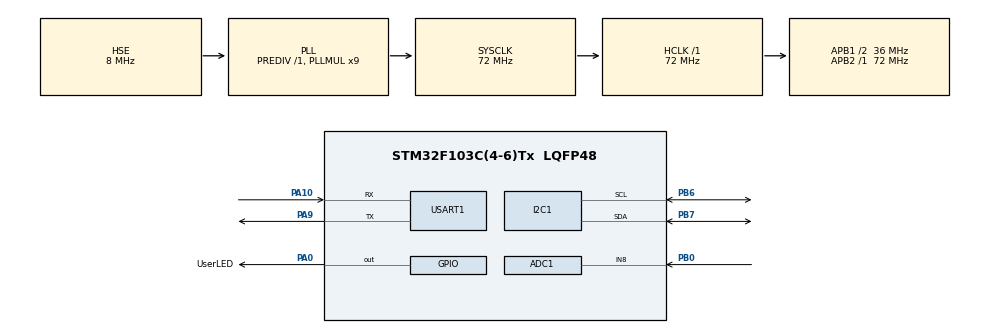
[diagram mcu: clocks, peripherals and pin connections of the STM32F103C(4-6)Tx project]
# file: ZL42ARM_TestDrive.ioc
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ADC1.Channel-0\#ChannelRegularConversion=ADC_CHANNEL_8
ADC1.NbrOfConversionFlag=1
ADC1.Rank-0\#ChannelRegularConversion=1
ADC1.SamplingTime-0\#ChannelRegularConversion=ADC_SAMPLETIME_1CYCLE_5
ADC1.master=1
ADC2.Channel-0\#ChannelRegularConversion=ADC_CHANNEL_8
ADC2.NbrOfConversionFlag=1
ADC2.Rank-0\#ChannelRegularConversion=1
ADC2.SamplingTime-0\#ChannelRegularConversion=ADC_SAMPLETIME_1CYCLE_5
Mcu.Family=STM32F1
Mcu.Name=STM32F103C(4-6)Tx
Mcu.Package=LQFP48
NVIC.PriorityGroup=NVIC_PRIORITYGROUP_4
PA0-WKUP.GPIO_Label=UserLED
PA0-WKUP.GPIO_ModeDefaultOutputPP=GPIO_MODE_OUTPUT_PP
PA0-WKUP.Signal=GPIO_Output
PA10.Mode=Asynchronous
PA10.Signal=USART1_RX
PA13.Mode=Serial_Wire
PA13.Signal=SYS_JTMS-SWDIO
PA14.Mode=Serial_Wire
PA14.Signal=SYS_JTCK-SWCLK
PA9.Mode=Asynchronous
PA9.Signal=USART1_TX
PB0.Signal=SharedAnalog_PB0
PB6.Mode=I2C
PB6.Signal=I2C1_SCL
PB7.Mode=I2C
PB7.Signal=I2C1_SDA
PD0-OSC_IN.Mode=HSE-External-Oscillator
PD0-OSC_IN.Signal=RCC_OSC_IN
PD1-OSC_OUT.Mode=HSE-External-Oscillator
PD1-OSC_OUT.Signal=RCC_OSC_OUT
ProjectManager.HeapSize=0x200
ProjectManager.StackSize=0x400
ProjectManager.TargetToolchain=STM32CubeIDE
RCC.ADCPresc=RCC_ADCPCLK2_DIV6
RCC.AHBFreq_Value=72000000
RCC.APB1CLKDivider=RCC_HCLK_DIV2
RCC.APB1Freq_Value=36000000
RCC.APB1TimFreq_Value=72000000
RCC.APB2Freq_Value=72000000
RCC.APB2TimFreq_Value=72000000
RCC.HCLKFreq_Value=72000000
RCC.PLLMUL=RCC_PLL_MUL9
RCC.PLLSourceVirtual=RCC_PLLSOURCE_HSE
RCC.SYSCLKFreq_VALUE=72000000
RCC.SYSCLKSource=RCC_SYSCLKSOURCE_PLLCLK
RCC.USBFreq_Value=72000000
SH.SharedAnalog_PB0.0=GPIO_Analog
SH.SharedAnalog_PB0.1=ADC1_IN8,IN8
SH.SharedAnalog_PB0.2=ADC2_IN8,IN8
USART1.VirtualMode=VM_ASYNC
board=custom

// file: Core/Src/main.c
/* USER CODE BEGIN Header */
/**
  ******************************************************************************
  * @file           : main.c
  * @brief          : Main program body
  ******************************************************************************
  * @attention
  *
  * <h2><center>&copy; Copyright (c) 2020 STMicroelectronics.
  * All rights reserved.</center></h2>
  *
  * This software component is licensed by ST under BSD 3-Clause license,
  * the "License"; You may not use this file except in compliance with the
  * License. You may obtain a copy of the License at:
  *                        opensource.org/licenses/BSD-3-Clause
  *
  ******************************************************************************
  */
/* USER CODE END Header */
#include "main.h"
#include "adc.h"
#include "i2c.h"
#include "usart.h"
#include "gpio.h"

/* USER CODE BEGIN Includes */
#include <stdio.h>
/* USER CODE END Includes */

/* USER CODE BEGIN PV */
static uint32_t softPrescaler;
uint8_t uartBuff[50];
uint8_t uart_str_size;

uint8_t i2c_curr_addr;
uint8_t i2c_buffer[10];
/* USER CODE END PV */

void SystemClock_Config(void);

int main(void)
{

  /* MCU Configuration--------------------------------------------------------*/

  /* Reset of all peripherals, Initializes the Flash interface and the Systick. */
  HAL_Init();

  /* Configure the system clock */
  SystemClock_Config();

  /* Initialize all configured peripherals */
  MX_GPIO_Init();
  MX_I2C1_Init();
  MX_USART1_UART_Init();
  MX_ADC1_Init();
  MX_ADC2_Init();
	/* USER CODE BEGIN 2 */

	// switch off LED
	HAL_GPIO_WritePin(UserLED_GPIO_Port, UserLED_Pin, GPIO_PIN_SET);

	uart_str_size = sprintf(uartBuff, "I2C Test devices\r\n");
	HAL_UART_Transmit(&huart1, uartBuff, uart_str_size, 10000);

	uart_str_size = sprintf(uartBuff, "Scanning the bus...\r\n");
	HAL_UART_Transmit(&huart1, uartBuff, uart_str_size, 10000);

	HAL_StatusTypeDef result;
	for (i2c_curr_addr = 1; i2c_curr_addr < 128; i2c_curr_addr++) {
		result = HAL_I2C_IsDeviceReady(&hi2c1, (uint16_t) (i2c_curr_addr << 1),
				2, 2);
		if (result != HAL_OK) {
			uart_str_size = sprintf(uartBuff, ".");
			HAL_UART_Transmit(&huart1, uartBuff, uart_str_size, 10000);
		} else {
			uart_str_size = sprintf(uartBuff, " 0x%X ", i2c_curr_addr);
			HAL_UART_Transmit(&huart1, uartBuff, uart_str_size, 10000);
		}
	}
	uart_str_size = sprintf(uartBuff, "\r\n", i2c_curr_addr);
				HAL_UART_Transmit(&huart1, uartBuff, uart_str_size, 10000);
	/* USER CODE END 2 */

  /* Infinite loop */
  while (1)
  {

    /* USER CODE BEGIN 3 */
		/* if (softPrescaler < 1000000) {
			softPrescaler++;
		} else {
			softPrescaler = 0;

		}*/

	}
  /* USER CODE END 3 */
}

void SystemClock_Config(void)
{
  RCC_OscInitTypeDef RCC_OscInitStruct = {0};
  RCC_ClkInitTypeDef RCC_ClkInitStruct = {0};
  RCC_PeriphCLKInitTypeDef PeriphClkInit = {0};

  /** Initializes the RCC Oscillators according to the specified parameters
  * in the RCC_OscInitTypeDef structure.
  */
  RCC_OscInitStruct.OscillatorType = RCC_OSCILLATORTYPE_HSE;
  RCC_OscInitStruct.HSEState = RCC_HSE_ON;
  RCC_OscInitStruct.HSEPredivValue = RCC_HSE_PREDIV_DIV1;
  RCC_OscInitStruct.HSIState = RCC_HSI_ON;
  RCC_OscInitStruct.PLL.PLLState = RCC_PLL_ON;
  RCC_OscInitStruct.PLL.PLLSource = RCC_PLLSOURCE_HSE;
  RCC_OscInitStruct.PLL.PLLMUL = RCC_PLL_MUL9;
  if (HAL_RCC_OscConfig(&RCC_OscInitStruct) != HAL_OK)
  {
    Error_Handler();
  }
  /** Initializes the CPU, AHB and APB buses clocks
  */
  RCC_ClkInitStruct.ClockType = RCC_CLOCKTYPE_HCLK|RCC_CLOCKTYPE_SYSCLK
                              |RCC_CLOCKTYPE_PCLK1|RCC_CLOCKTYPE_PCLK2;
  RCC_ClkInitStruct.SYSCLKSource = RCC_SYSCLKSOURCE_PLLCLK;
  RCC_ClkInitStruct.AHBCLKDivider = RCC_SYSCLK_DIV1;
  RCC_ClkInitStruct.APB1CLKDivider = RCC_HCLK_DIV2;
  RCC_ClkInitStruct.APB2CLKDivider = RCC_HCLK_DIV1;

  if (HAL_RCC_ClockConfig(&RCC_ClkInitStruct, FLASH_LATENCY_2) != HAL_OK)
  {
    Error_Handler();
  }
  PeriphClkInit.PeriphClockSelection = RCC_PERIPHCLK_ADC;
  PeriphClkInit.AdcClockSelection = RCC_ADCPCLK2_DIV6;
  if (HAL_RCCEx_PeriphCLKConfig(&PeriphClkInit) != HAL_OK)
  {
    Error_Handler();
  }
}

void Error_Handler(void)
{
}

/************************ (C) COPYRIGHT STMicroelectronics *****END OF FILE****/
